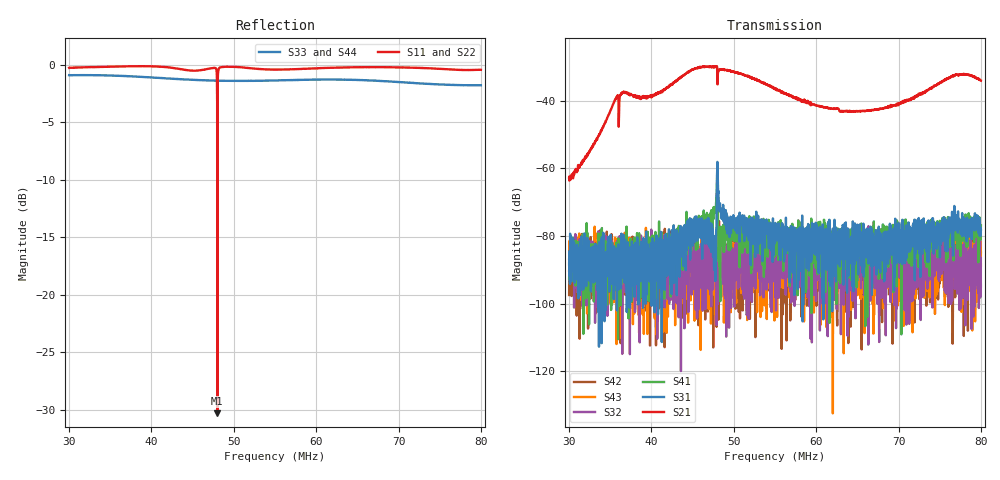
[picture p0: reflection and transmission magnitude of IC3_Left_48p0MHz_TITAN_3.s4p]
#  HZ  S  DB  R  50.00
! Rohde & Schwarz Vector Network Analyzer
! Rohde-Schwarz,ZNB8-4Port,1311601044102961,2.82
! Created: UTC 2/8/2019, 3:34:47 PM
! freq[Hz]  db:S11  ang:S11  db:S12  ang:S12  db:S13  ang:S13  db:S14  ang:S14
!  db:S21  ang:S21  db:S22  ang:S22  db:S23  ang:S23  db:S24  ang:S24
!  db:S31  ang:S31  db:S32  ang:S32  db:S33  ang:S33  db:S34  ang:S34
!  db:S41  ang:S41  db:S42  ang:S42  db:S43  ang:S43  db:S44  ang:S44
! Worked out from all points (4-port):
!   2001 points, 30 MHz to 80 MHz, reference 50 ohm
!   strongest paths, dB at 30 MHz, 42.5 MHz, 55 MHz, 67.5 MHz, 80 MHz:
!     S21: -63.0, -35.1, -36.6, -42.6, -34.1
!     S31: -88.4, -78.2, -81.9, -78.4, -78.0
!     S41: -92.7, -82.6, -83.0, -90.9, -76.9
!     S32: -86.7, -88.9, -81.9, -82.6, -94.8
!     S43: -90.2, -89.3, -93.6, -85.3, -88.8
!     S42: -97.4, -84.0, -93.1, -87.3, -84.9
!   lowest |S11| = -30.3 dB at 48 MHz (marker M1), VSWR 1.06, Z = 48.4 - j2.55 ohm
!   |S11| at or under -10 dB: 47.98123 MHz to 48.01903 MHz (37.8 kHz wide, 0.0788 % of centre)
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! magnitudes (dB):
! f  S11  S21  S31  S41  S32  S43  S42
! 30 MHz  -0.3  -63.0  -88.4  -92.7  -86.7  -90.2  -97.4
! 36.42 MHz  -0.1  -37.9  -85.2  -81.3  -88.1  -93.7  -85.5
! 47.62 MHz  -0.3  -30.1  -90.0  -72.6  -89.7  -84.5  -85.1
! 48 MHz  -30.3  -34.9  -58.1  -58.9  -84.2  -85.2  -85.5
! 48.35 MHz  -0.2  -30.8  -72.4  -99.3  -88.0  -90.0  -86.5
! 63.1 MHz  -0.2  -43.0  -81.6  -78.3  -86.2  -81.2  -87.1
! 80 MHz  -0.4  -34.1  -78.0  -76.9  -94.8  -88.8  -84.9
